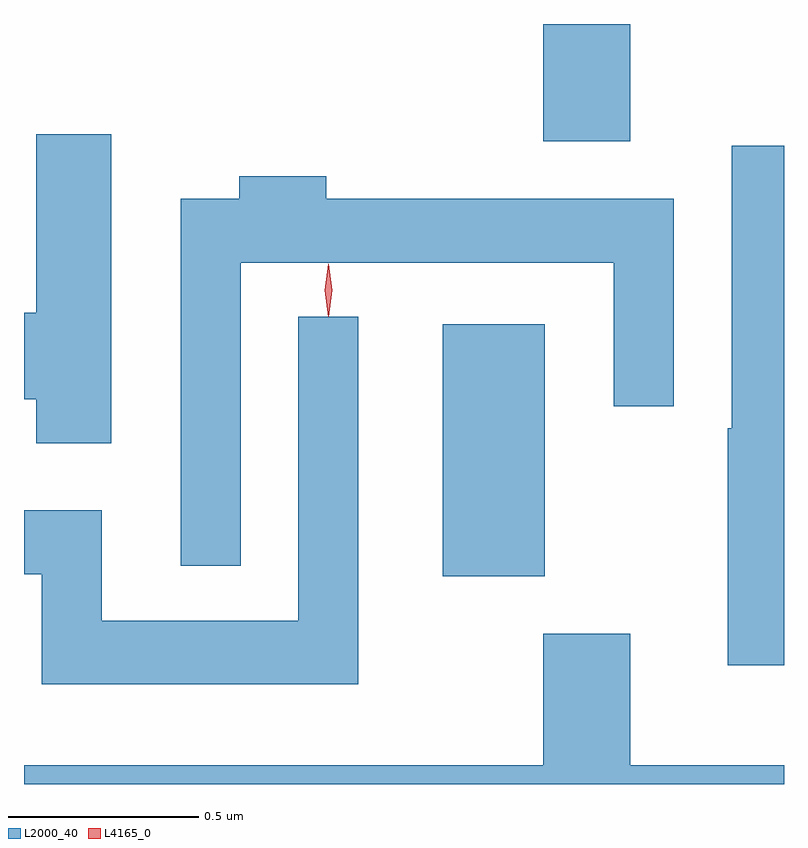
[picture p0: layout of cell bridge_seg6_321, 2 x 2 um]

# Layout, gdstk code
import gdstk
lib = gdstk.Library(unit=1e-6, precision=1e-09)
def R(c, l, rs):  # rectangles x0, y0, x1, y1
    for r in rs: c.add(gdstk.rectangle(r[:2], r[2:], *l))
def P(c, l, *ps):  # polygons
    for p in ps: c.add(gdstk.Polygon(p, *l))
L2000_40 = (2000, 40)
L4165_0 = (4165, 0)

bridge_seg6_321 = lib.new_cell('bridge_seg6_321')
R(bridge_seg6_321, L2000_40, [(1270.126,1555.241,1270.394,1555.904), (1270.391,1556.386,1270.619,1556.694)])
P(bridge_seg6_321, L2000_40, [(1269.254,1556.404),(1269.056,1556.404),(1269.056,1555.934),(1269.024,1555.934),(1269.024,1555.706),(1269.056,1555.706),(1269.056,1555.591),(1269.254,1555.591)],
  [(1271.024,1556.373),(1270.886,1556.373),(1270.886,1555.63),(1270.876,1555.63),(1270.876,1555.006),(1271.024,1555.006)],
  [(1269.594,1556.066),(1270.576,1556.066),(1270.576,1555.688),(1270.734,1555.688),(1270.734,1556.234),(1269.819,1556.234),(1269.819,1556.294),(1269.591,1556.294),(1269.591,1556.234),(1269.436,1556.234),(1269.436,1555.268),(1269.594,1555.268)],
  [(1269.904,1555.923),(1269.746,1555.923),(1269.746,1555.124),(1269.229,1555.124),(1269.229,1555.414),(1269.024,1555.414),(1269.024,1555.246),(1269.071,1555.246),(1269.071,1554.956),(1269.904,1554.956)],
  [(1271.024,1554.744),(1270.619,1554.744),(1270.619,1555.089),(1270.391,1555.089),(1270.391,1554.744),(1269.024,1554.744),(1269.024,1554.694),(1271.024,1554.694)])
P(bridge_seg6_321, L4165_0, [(1269.825,1555.924),(1269.825,1555.924),(1269.815,1555.993),(1269.825,1556.062),(1269.825,1556.063),(1269.826,1556.062),(1269.835,1555.993),(1269.826,1555.924)],
  [(1269.824,1555.927),(1269.815,1555.994),(1269.824,1556.06),(1269.825,1556.061),(1269.825,1556.06),(1269.835,1555.994),(1269.825,1555.927),(1269.825,1555.927)])

lib.write_gds('bridge_seg6_321.gds')
